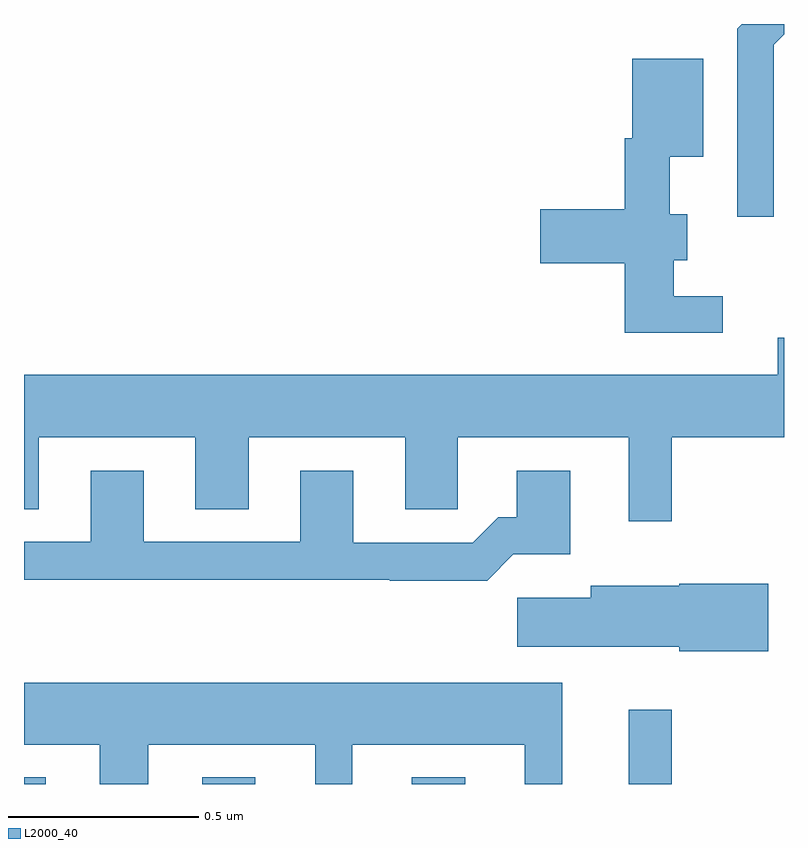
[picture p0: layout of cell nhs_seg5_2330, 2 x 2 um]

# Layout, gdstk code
import gdstk
lib = gdstk.Library(unit=1e-6, precision=1e-09)
def R(c, l, rs):  # rectangles x0, y0, x1, y1
    for r in rs: c.add(gdstk.rectangle(r[:2], r[2:], *l))
def P(c, l, *ps):  # polygons
    for p in ps: c.add(gdstk.Polygon(p, *l))
L2000_40 = (2000, 40)

nhs_seg5_2330 = lib.new_cell('nhs_seg5_2330')
R(nhs_seg5_2330, L2000_40, [(142,903.799,142.057,903.817), (142.469,903.799,142.609,903.817), (143.021,903.799,143.161,903.817), (143.591,903.799,143.705,903.994)])
P(nhs_seg5_2330, L2000_40, [(143.973,905.745),(144,905.772),(144,905.799),(143.889,905.799),(143.877,905.787),(143.877,905.292),(143.973,905.292)],
  [(143.839,905.082),(143.71,905.082),(143.71,905.177),(143.746,905.177),(143.746,905.299),(143.699,905.299),(143.699,905.45),(143.788,905.45),(143.788,905.707),(143.6,905.707),(143.6,905.499),(143.581,905.499),(143.581,905.312),(143.358,905.312),(143.358,905.17),(143.581,905.17),(143.581,904.986),(143.839,904.986)],
  [(143.705,904.712),(144,904.712),(144,904.974),(143.984,904.974),(143.984,904.876),(142,904.876),(142,904.522),(142.039,904.522),(142.039,904.712),(142.451,904.712),(142.451,904.522),(142.591,904.522),(142.591,904.712),(143.003,904.712),(143.003,904.522),(143.142,904.522),(143.142,904.712),(143.591,904.712),(143.591,904.491),(143.705,904.491)],
  [(143.288,904.403),(143.437,904.403),(143.437,904.624),(143.297,904.624),(143.297,904.501),(143.248,904.501),(143.181,904.434),(142.867,904.434),(142.867,904.624),(142.727,904.624),(142.727,904.437),(142.315,904.437),(142.315,904.624),(142.175,904.624),(142.175,904.437),(142,904.437),(142,904.336),(142.963,904.336),(142.963,904.334),(143.219,904.334)],
  [(143.959,904.326),(143.724,904.326),(143.724,904.321),(143.492,904.321),(143.492,904.289),(143.298,904.289),(143.298,904.16),(143.724,904.16),(143.724,904.148),(143.959,904.148)],
  [(142.327,903.902),(142.766,903.902),(142.766,903.799),(142.864,903.799),(142.864,903.902),(143.318,903.902),(143.318,903.799),(143.416,903.799),(143.416,904.066),(142,904.066),(142,903.902),(142.199,903.902),(142.199,903.799),(142.327,903.799)])

lib.write_gds('nhs_seg5_2330.gds')
